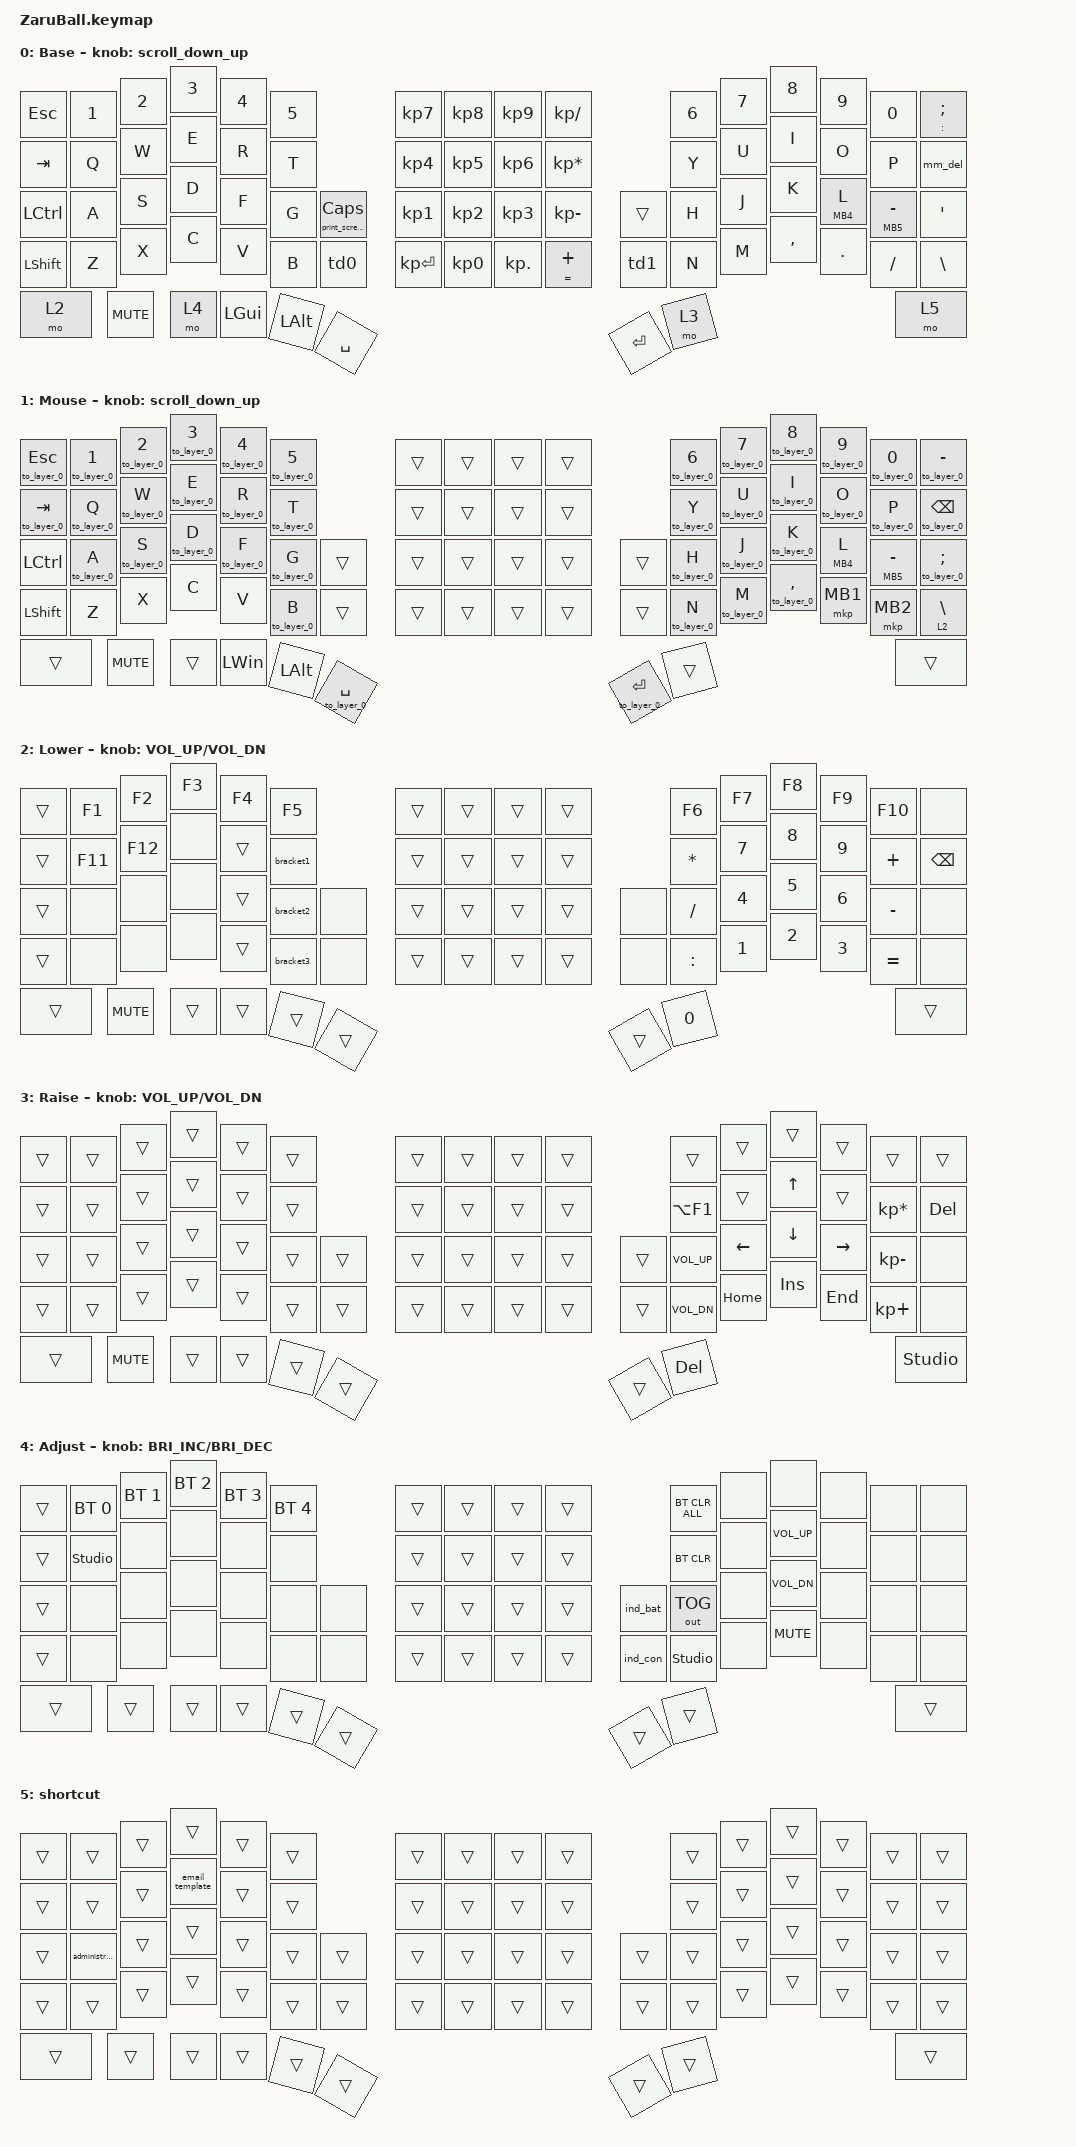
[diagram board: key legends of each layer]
//#include <dt-bindings/zmk/mouse.h>

#include <behaviors/rgbled_widget.dtsi>
#include <input/processors.dtsi>
#include <dt-bindings/zmk/input_transform.h>
#include <behaviors.dtsi>
#include <dt-bindings/zmk/bt.h>
#include <dt-bindings/zmk/keys.h>
#include <dt-bindings/zmk/outputs.h>
#include <dt-bindings/zmk/pointing.h>

#define BASE     0
#define MOUSE    1
#define LOWER    2
#define RAISE    3
#define ADJUST   4
#define SCROLL   2

// スクロール量の設定

#define ZMK_POINTING_DEFAULT_SCRL_VAL 100

&trackball_listener {
    input-processors = <
                         &zip_xy_transform (INPUT_TRANSFORM_XY_SWAP | INPUT_TRANSFORM_Y_INVERT | INPUT_TRANSFORM_X_INVERT)
                         &zip_temp_layer MOUSE 1000
    >;

    scroller {
        layers = <SCROLL>;
        input-processors = <
                            &zip_xy_transform (INPUT_TRANSFORM_XY_SWAP | INPUT_TRANSFORM_X_INVERT)
                            &zip_xy_scaler 1 20
                            &zip_xy_to_scroll_mapper
        >;
    };
};

/ {
    behaviors {
        // スクロール用のbehaviorの設定

        scroll_down_up: behavior_sensor_rotate_mouse_wheel_down_up {
            compatible = "zmk,behavior-sensor-rotate";
            #sensor-binding-cells = <0>;
            bindings = <&msc SCRL_DOWN>, <&msc SCRL_UP>;

            tap-ms = <20>; // スクロールのタップ時間
        };

        td0: tap_dance_0 {
            compatible = "zmk,behavior-tap-dance";
            #binding-cells = <0>;
            tapping-term-ms = <200>;
            bindings = <&mt LEFT_BRACKET LEFT_PARENTHESIS>, <&kp LEFT_BRACE>;
        };

        td1: tap_dance_1 {
            compatible = "zmk,behavior-tap-dance";
            #binding-cells = <0>;
            tapping-term-ms = <200>;
            bindings = <&mt RIGHT_BRACKET RIGHT_PARENTHESIS>, <&kp RIGHT_BRACE>;
        };

        // Customed Hold-Tap for SandS

        SandS: SandS {
            compatible = "zmk,behavior-hold-tap";
            #binding-cells = <2>;
            flavor = "tap-unless-interrupted";
            tapping-term-ms = <500>;
            quick-tap-ms = <500>;
            bindings = <&kp>, <&kp>;

            display-name = "SandS";
        };

        tolayer0_mkp: tolayer0_mkp {
            compatible = "zmk,behavior-hold-tap";
            #binding-cells = <2>;
            flavor = "tap-preferred";
            tapping-term-ms = <400>;
            bindings = <&mkp>, <&to_layer_0>;

            display-name = "MT_KP_MKP";
        };

        kp_mkp: kp_mkp {
            compatible = "zmk,behavior-hold-tap";
            #binding-cells = <2>;
            flavor = "tap-preferred";
            tapping-term-ms = <400>;
            bindings = <&mkp>, <&kp>;

            display-name = "MT_KP_MKP";
            label = "KP_MKP";
        };

        mt_print_screen: mt_print_screen {
            compatible = "zmk,behavior-hold-tap";
            label = "MT_PRINT_SCREEN";
            bindings = <&print_screen>, <&kp>;

            #binding-cells = <2>;
            flavor = "tap-preferred";
            tapping-term-ms = <500>;
        };

        mm_del: mm_del {
            compatible = "zmk,behavior-mod-morph";
            label = "MM_DEL";
            bindings = <&kp BACKSPACE>, <&kp DELETE>;

            #binding-cells = <0>;
            mods = <(MOD_LSFT)>;
        };
    };
};

&sl { release-after-ms = <250>; }; // time needed for double click (for mkp_exit_AML)
/ {
    macros {
        // When in AML, move to default layer when key (except mouse button) pressed

        to_layer_0: to_layer_0 {
            compatible = "zmk,behavior-macro-one-param";
            #binding-cells = <1>;
            bindings = <&tog 1 &macro_param_1to1 &kp MACRO_PLACEHOLDER>;
            label = "TO_layer_0";
        };

        mkp_exit_AML: mkp_exit_AML {
            compatible = "zmk,behavior-macro-one-param";
            #binding-cells = <1>;
            bindings =
                <&macro_press>,
                <&macro_param_1to1 &mkp MACRO_PLACEHOLDER>,
                <&macro_pause_for_release>,
                <&macro_release>,
                <&macro_param_1to1 &mkp MACRO_PLACEHOLDER>,
                <&macro_tap>,
                <&sl 1>;

            label = "MKP_EXIT_AML";
        };

        switch_lang: switch_lang {
            compatible = "zmk,behavior-macro";
            #binding-cells = <0>;
            bindings =
                <&macro_press>,
                <&kp LSHIFT>,
                <&macro_tap>,
                <&kp CAPS>,
                <&macro_release>,
                <&kp LSHIFT>;
        };

        print_screen: print_screen {
            compatible = "zmk,behavior-macro";
            #binding-cells = <0>;
            bindings =
                <&macro_press>,
                <&kp LEFT_SHIFT &kp LWIN>,
                <&macro_tap>,
                <&kp S>,
                <&macro_release>,
                <&kp LEFT_SHIFT &kp LWIN>;

            label = "PRINT_SCREEN";
        };

        bracket1: bracket1 {
            compatible = "zmk,behavior-macro";
            #binding-cells = <0>;
            bindings = <&kp LPAR &kp RPAR &kp LEFT>;
            label = "BRACKET1";
        };

        bracket2: bracket2 {
            compatible = "zmk,behavior-macro";
            #binding-cells = <0>;
            bindings = <&kp LEFT_BRACKET &kp RIGHT_BRACKET &kp LEFT>;
            label = "BRACKET2";
        };

        bracket3: bracket3 {
            compatible = "zmk,behavior-macro";
            #binding-cells = <0>;
            bindings = <&kp LEFT_BRACE &kp RIGHT_BRACE &kp LEFT>;
            label = "BRACKET3";
        };

        email_template: email_template {
            compatible = "zmk,behavior-macro";
            #binding-cells = <0>;
            bindings = <&kp O &kp T &kp U &kp K &kp A &kp R &kp E &kp S &kp A &kp M &kp A &kp D &kp E &kp S &kp U &kp DOT &kp SPACE &kp ENTER &kp ENTER &kp ENTER &kp Y &kp O &kp R &kp O &kp S &kp H &kp I &kp K &kp U &kp O &kp N &kp E &kp G &kp A &kp I &kp S &kp H &kp I &kp M &kp A &kp S &kp U &kp DOT &kp SPACE &kp ENTER &kp ENTER &kp S &kp A &kp K &kp O &kp SPACE &kp ENTER &kp ENTER &kp UP_ARROW &kp UP_ARROW &kp UP_ARROW>;
            label = "EMAIL_TEMPLATE";
        };

        administrator: administrator {
            compatible = "zmk,behavior-macro";
            #binding-cells = <0>;
            bindings = <&kp A &kp D &kp M &kp I &kp N &kp I &kp S &kp T &kp R &kp A &kp T &kp O &kp R>;
            label = "ADMINISTRATOR";
        };
    };
};

/ {
    combos {
        compatible = "zmk,combos";

        switch_lang {
            bindings = <&switch_lang>;
            key-positions = <36 45>;
        };

        middle_click {
            bindings = <&mkp MB3>;
            key-positions = <65 66>;
        };

        kana {
            bindings = <&kp F13>;
            key-positions = <45 46>;
        };

        eisu {
            bindings = <&kp F14>;
            key-positions = <36 35>;
        };
    };

    keymap {
        compatible = "zmk,keymap";

        base_layer {
            display-name = "Base";
            sensor-bindings = <&scroll_down_up>;
            bindings = <
&kp ESC     &kp N1      &kp N2  &kp N3  &kp N4        &kp N5                                   &kp KP_N7     &kp KP_N8  &kp KP_N9   &kp KP_DIVIDE                 &kp NUMBER_6  &kp N7  &kp N8     &kp N9         &kp N0             &mt COLON SEMICOLON
&kp TAB     &kp Q       &kp W   &kp E   &kp R         &kp T                                    &kp KP_N4     &kp KP_N5  &kp KP_N6   &kp KP_MULTIPLY               &kp Y         &kp U   &kp I      &kp O          &kp P              &mm_del
&kp LCTRL   &kp A       &kp S   &kp D   &kp F         &kp G         &mt_print_screen 0 CAPS    &kp KP_N1     &kp KP_N2  &kp KP_N3   &kp KP_MINUS       &trans     &kp H         &kp J   &kp K      &kp_mkp MB4 L  &kp_mkp MB5 MINUS  &kp SQT
&kp LSHIFT  &kp Z       &kp X   &kp C   &kp V         &kp B         &td0                       &kp KP_ENTER  &kp KP_N0  &kp KP_DOT  &mt EQUAL PLUS     &td1       &kp N         &kp M   &kp COMMA  &kp DOT        &kp FSLH           &kp BACKSLASH
&mo 2       &kp C_MUTE          &mo 4   &kp LEFT_GUI  &kp LEFT_ALT  &kp SPACE                                                                          &kp ENTER  &mo 3                                                              &mo 5
            >;
        };

        mouse_layer {
            display-name = "Mouse";
            sensor-bindings = <&scroll_down_up>;
            bindings = <
&to_layer_0 ESC  &to_layer_0 N1  &to_layer_0 N2  &to_layer_0 N3  &to_layer_0 N4  &to_layer_0 N5                       &trans  &trans  &trans  &trans                       &to_layer_0 N6  &to_layer_0 N7  &to_layer_0 N8     &to_layer_0 N9       &to_layer_0 N0           &to_layer_0 MINUS
&to_layer_0 TAB  &to_layer_0 Q   &to_layer_0 W   &to_layer_0 E   &to_layer_0 R   &to_layer_0 T                        &trans  &trans  &trans  &trans                       &to_layer_0 Y   &to_layer_0 U   &to_layer_0 I      &to_layer_0 O        &to_layer_0 P            &to_layer_0 BACKSPACE
&kp LCTRL        &to_layer_0 A   &to_layer_0 S   &to_layer_0 D   &to_layer_0 F   &to_layer_0 G   &trans               &trans  &trans  &trans  &trans    &trans             &to_layer_0 H   &to_layer_0 J   &to_layer_0 K      &tolayer0_mkp MB4 L  &tolayer0_mkp MB5 MINUS  &to_layer_0 SEMICOLON
&kp LSHIFT       &kp Z           &kp X           &kp C           &kp V           &to_layer_0 B   &trans               &trans  &trans  &trans  &trans    &trans             &to_layer_0 N   &to_layer_0 M   &to_layer_0 COMMA  &mkp MB1             &mkp MB2                 &lt 2 BACKSLASH
&trans           &kp C_MUTE                      &trans          &kp LEFT_WIN    &kp LEFT_ALT    &to_layer_0 SPACE                                      &to_layer_0 ENTER  &trans                                                                                           &trans
            >;
        };

        lower_layer {
            display-name = "Lower";
            sensor-bindings = <&inc_dec_kp C_VOL_UP C_VOL_DN>;
            bindings = <
&trans  &kp F1      &kp F2   &kp F3  &kp F4  &kp F5               &trans  &trans  &trans  &trans            &kp F6        &kp F7  &kp F8  &kp F9  &kp F10    &none
&trans  &kp F11     &kp F12  &none   &trans  &bracket1            &trans  &trans  &trans  &trans            &kp ASTERISK  &kp N7  &kp N8  &kp N9  &kp PLUS   &kp BACKSPACE
&trans  &none       &none    &none   &trans  &bracket2  &none     &trans  &trans  &trans  &trans    &none   &kp SLASH     &kp N4  &kp N5  &kp N6  &kp MINUS  &none
&trans  &none       &none    &none   &trans  &bracket3  &none     &trans  &trans  &trans  &trans    &none   &kp COLON     &kp N1  &kp N2  &kp N3  &kp EQUAL  &none
&trans  &kp C_MUTE           &trans  &trans  &trans     &trans                                      &trans  &kp N0                                           &trans
            >;
        };

        raise_layer {
            display-name = "Raise";
            sensor-bindings = <&inc_dec_kp C_VOL_UP C_VOL_DN>;
            bindings = <
&trans  &trans      &trans  &trans  &trans  &trans            &trans  &trans  &trans  &trans            &trans        &trans    &trans        &trans     &trans           &trans
&trans  &trans      &trans  &trans  &trans  &trans            &trans  &trans  &trans  &trans            &kp LA(F1)    &trans    &kp UP_ARROW  &trans     &kp KP_MULTIPLY  &kp DELETE
&trans  &trans      &trans  &trans  &trans  &trans  &trans    &trans  &trans  &trans  &trans    &trans  &kp C_VOL_UP  &kp LEFT  &kp DOWN      &kp RIGHT  &kp KP_MINUS     &none
&trans  &trans      &trans  &trans  &trans  &trans  &trans    &trans  &trans  &trans  &trans    &trans  &kp C_VOL_DN  &kp HOME  &kp INSERT    &kp END    &kp KP_PLUS      &none
&trans  &kp C_MUTE          &trans  &trans  &trans  &trans                                      &trans  &kp DEL                                                           &studio_unlock
            >;
        };

        adjust_layer {
            display-name = "Adjust";
            sensor-bindings = <&inc_dec_kp C_BRI_INC C_BRIGHTNESS_DEC>;
            bindings = <
&trans  &bt BT_SEL 0    &bt BT_SEL 1  &bt BT_SEL 2  &bt BT_SEL 3  &bt BT_SEL 4            &trans  &trans  &trans  &trans              &bt BT_CLR_ALL  &none  &none         &none  &none  &none
&trans  &studio_unlock  &none         &none         &none         &none                   &trans  &trans  &trans  &trans              &bt BT_CLR      &none  &kp C_VOL_UP  &none  &none  &none
&trans  &none           &none         &none         &none         &none         &none     &trans  &trans  &trans  &trans    &ind_bat  &out OUT_TOG    &none  &kp C_VOL_DN  &none  &none  &none
&trans  &none           &none         &none         &none         &none         &none     &trans  &trans  &trans  &trans    &ind_con  &studio_unlock  &none  &kp C_MUTE    &none  &none  &none
&trans  &trans                        &trans        &trans        &trans        &trans                                      &trans    &trans                                             &trans
            >;
        };

        // Extra layer can be added in ZMK STUDIO

        shortcut_layer {
            bindings = <
&trans  &trans          &trans  &trans           &trans  &trans            &trans  &trans  &trans  &trans            &trans  &trans  &trans  &trans  &trans  &trans
&trans  &trans          &trans  &email_template  &trans  &trans            &trans  &trans  &trans  &trans            &trans  &trans  &trans  &trans  &trans  &trans
&trans  &administrator  &trans  &trans           &trans  &trans  &trans    &trans  &trans  &trans  &trans    &trans  &trans  &trans  &trans  &trans  &trans  &trans
&trans  &trans          &trans  &trans           &trans  &trans  &trans    &trans  &trans  &trans  &trans    &trans  &trans  &trans  &trans  &trans  &trans  &trans
&trans  &trans                  &trans           &trans  &trans  &trans                                      &trans  &trans                                  &trans
            >;

            label = "shortcut";
        };
    };
};
